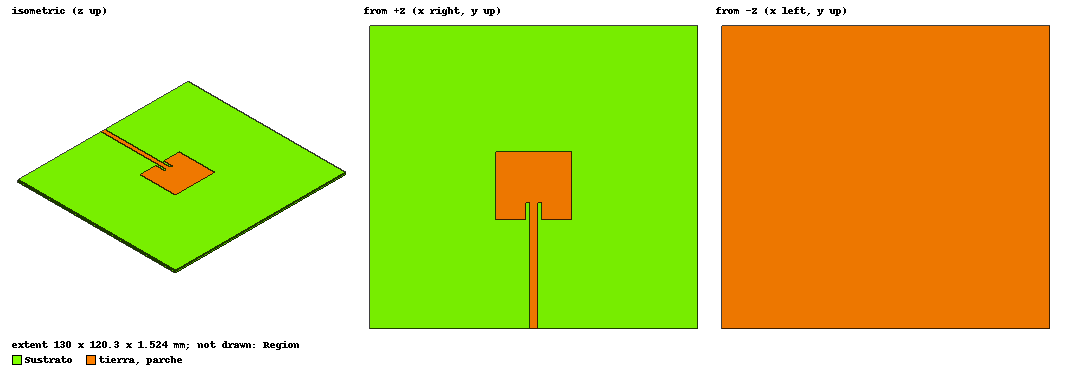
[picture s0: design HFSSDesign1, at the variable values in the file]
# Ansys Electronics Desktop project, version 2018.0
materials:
  vacuum: permittivity=1
  FR4_epoxy: permittivity=4.4 dielectric_loss_tangent=0.02
  air: permittivity=1.0006 permeability=1.0000004

design HFSSDesign1 (HFSS, DrivenModal, model units mm)
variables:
  lambda = 200mm
  W = 30mm
  L = 27mm
  h = 1.524mm
  wl = 3mm
  ll = 50mm
  s = wl/2
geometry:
  Sustrato [FR4_epoxy] = box(corner=(0mm, 0mm, 0mm), size=(w+lambda/2, ll-l/4+l+lambda/4, h))
  parche = rectangle(corner=(lambda/4, ll-l/4, h), x_size=w, y_size=l)
  tierra = rectangle(corner=(0mm, 0mm, 0mm), x_size=w+lambda/2, y_size=ll-l/4+l+lambda/4)
  Linea = rectangle(corner=(lambda/4+W/2-wl/2, 0, h), x_size=wl, y_size=ll)
  muesca = rectangle(corner=(lambda/4+w/2-wl/2-s, ll-l/4, h), x_size=2*s+wl, y_size=l/4)
  parche.subtract(muesca)
  parche.unite(Linea)
  Region [air] = region(absolute_offset=lambda/4 on all sides)
  puerto = rectangle(corner=(lambda/4+W/2-wl/2, 0mm, 0mm), z_size=h, x_size=wl)
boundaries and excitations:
  Parche: Perfect E Objects=parche
  Tierra: Perfect E Objects=tierra
  Rad1: Radiation Objects=Region
  1: Lumped Port Objects=puerto Modes{Mode1{IntLine{middle of puerto.edge(z at corner) -> middle of puerto.edge(z opposite corner)} CharImp=Zpi RenormImp=50ohm}} Impedance=50ohm
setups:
  Setup1: HfssDriven Frequency=1.5GHz MaxDeltaS=0.02 MaximumPasses=6 MinimumPasses=1 MinimumConvergedPasses=1 PercentRefinement=30 BasisOrder=1 PortAccuracy=2
    sweep Sweep: 1GHz to 10GHz step 0.1GHz; Type=Interpolating InterpTolerance=0.5 InterpMaxSolns=250 InterpUsePortImped=false PassivityErrorTolerance=0.0001
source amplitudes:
  1:1: 1W 0deg
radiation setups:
  Infinite Sphere1: Infinite Sphere Theta=-180deg..180deg step 2deg Phi=-180deg..180deg step 2deg
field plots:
  Mag_Jsurf1: Jsurf over parche.face(at (65, 56.75, 1.524)) on Setup1 : LastAdaptive at Freq=1.5GHz Phase=0deg
  Mag_H1: H Field over Sustrato.face(+z) on Setup1 : LastAdaptive at Freq=1.5GHz Phase=0deg
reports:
  S Parameter Plot 1: dB(S(1,1)) vs Freq on Setup1 : Sweep; markers MX1 at x=2.4014286e+09
  Z Parameter Plot 1: re(Z(1,1)), im(Z(1,1)) vs Freq on Setup1 : Sweep; markers MX1 at x=4.0131004e+09
  VSWR Plot 1: VSWR(1) vs Freq on Setup1 : Sweep; markers MX1 at x=2.40625e+09, MX2 at x=6.490767e+09
  Gain Plot 1: dB(GainTotal) vs Theta on Setup1 : LastAdaptive, Infinite Sphere1 [Phi=all Freq=1.5GHz]; markers m1 at 0deg, m2 at 180deg, m3 at -126deg, m4 at 124deg
  Gain Plot 2: dB(GainTotal) vs Phi, Theta on Setup1 : LastAdaptive, Infinite Sphere1 [Freq=1.5GHz]
